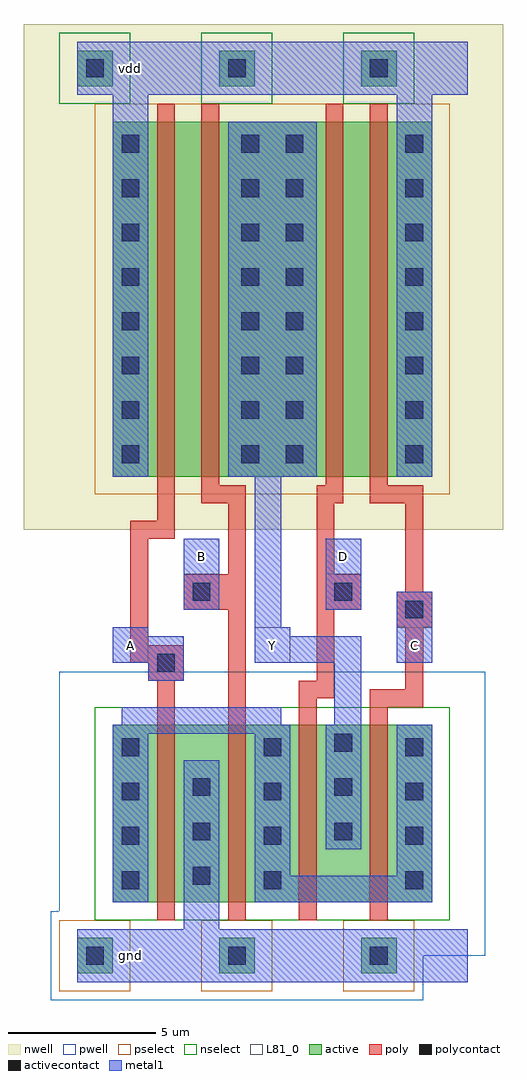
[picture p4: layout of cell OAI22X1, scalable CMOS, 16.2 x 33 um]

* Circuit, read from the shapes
.subckt OAI22X1 A B C D Y gnd vdd
M1 gnd A n1 gnd nfet w=6u l=0.6u
M2 n1 B gnd gnd nfet w=6u l=0.6u
M3 Y D n1 gnd nfet w=6u l=0.6u
M4 n1 C Y gnd nfet w=6u l=0.6u
M5 n2 A vdd vdd pfet w=12u l=0.6u
M6 Y B n2 vdd pfet w=12u l=0.6u
M7 n3 D Y vdd pfet w=12u l=0.6u
M8 vdd C n3 vdd pfet w=12u l=0.6u
.ends

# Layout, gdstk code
import gdstk
lib = gdstk.Library(unit=1e-6, precision=1e-09)
def R(c, l, rs):  # rectangles x0, y0, x1, y1
    for r in rs: c.add(gdstk.rectangle(r[:2], r[2:], *l))
def A(c, l, x, y, w, h, nx, ny, dx, dy):  # array of equal rectangles
    R(c, l, [(x+i*dx, y+j*dy, x+i*dx+w, y+j*dy+h) for i in range(nx) for j in range(ny)])
pwell = (41, 0)
nwell = (42, 0)
active = (43, 0)
pselect = (44, 0)
nselect = (45, 0)
poly = (46, 0)
polycontact = (47, 0)
activecontact = (48, 0)
metal1 = (49, 0)
L81_0 = (81, 0)

oai22x1 = lib.new_cell('OAI22X1')
R(oai22x1, pwell, [(-1.5,-1.5,11.1,0), (-1.5,0,13.2,1.5), (-1.2,1.5,13.2,9.6)])
R(oai22x1, nwell, [(-2.4,14.4,13.8,31.5)])
A(oai22x1, active, -0.6, -0.6, 1.2, 1.2, 3, 2, 4.8, 30)
R(oai22x1, active, [(0.6,1.8,11.4,7.8), (0.6,16.2,11.4,28.2)])
A(oai22x1, pselect, -1.2, -1.2, 2.4, 2.4, 3, 1, 4.8, 0)
R(oai22x1, pselect, [(0,15.6,12,28.8)])
A(oai22x1, nselect, -1.2, 28.8, 2.4, 2.4, 3, 1, 4.8, 0)
R(oai22x1, nselect, [(0,1.2,12,8.4)])
R(oai22x1, poly, [(2.1,1.2,2.7,9.3), (4.5,1.2,5.1,11.7), (6.9,1.2,7.5,8.7), (9.3,1.2,9.9,8.4), (9.3,8.4,11.1,9), (6.9,8.7,8.1,9.3), (10.5,9,11.1,11.1), (1.8,9.3,3,9.9), (7.5,9.3,8.1,11.7), (1.2,9.9,3,10.5), (1.2,10.5,1.8,14.1), (10.2,11.1,11.4,12.3), (3,11.7,5.1,12.9), (7.5,11.7,9,12.9), (10.5,12.3,11.1,15.3), (4.5,12.9,5.1,15.3), (7.5,12.9,8.1,15.3), (1.2,14.1,2.7,14.7), (2.1,14.7,2.7,28.8), (3.6,15.3,5.1,15.9), (7.5,15.3,8.4,15.9), (9.3,15.3,11.1,15.9), (3.6,15.9,4.2,28.8), (7.8,15.9,8.4,28.8), (9.3,15.9,9.9,28.8)])
R(oai22x1, polycontact, [(2.1,9.6,2.7,10.2), (10.5,11.4,11.1,12), (3.3,12,3.9,12.6), (8.1,12,8.7,12.6)])
A(oai22x1, activecontact, -0.3, -0.3, 0.6, 0.6, 3, 2, 4.8, 30)
A(oai22x1, activecontact, 0.9, 2.25, 0.6, 0.6, 3, 4, 4.8, 1.5)
A(oai22x1, activecontact, 3.3, 2.4, 0.6, 0.6, 1, 3, 0, 1.5)
A(oai22x1, activecontact, 8.1, 3.9, 0.6, 0.6, 1, 3, 0, 1.5)
A(oai22x1, activecontact, 0.9, 16.65, 0.6, 0.6, 1, 8, 0, 1.5)
A(oai22x1, activecontact, 4.95, 16.65, 0.6, 0.6, 1, 8, 0, 1.5)
A(oai22x1, activecontact, 6.45, 16.65, 0.6, 0.6, 1, 8, 0, 1.5)
A(oai22x1, activecontact, 10.5, 16.65, 0.6, 0.6, 1, 8, 0, 1.5)
R(oai22x1, metal1, [(-0.6,-0.9,12.6,0.9), (3,0.9,4.2,6.6), (0.6,1.8,1.8,7.5), (5.4,1.8,11.4,2.7), (5.4,2.7,6.6,7.5), (10.2,2.7,11.4,7.8), (7.8,3.6,9,7.8), (0.6,7.5,6.6,7.8), (0.9,7.8,6.3,8.4), (8.1,7.8,9,9.9), (1.8,9.3,3,9.9), (0.6,9.9,3,10.8), (5.4,9.9,9,10.8), (10.2,9.9,11.4,12.3), (0.6,10.8,1.8,11.1), (5.4,10.8,6.6,11.1), (5.4,11.1,6.3,16.2), (3,11.7,4.2,14.1), (7.8,11.7,9,14.1), (0.6,16.2,1.8,29.1), (4.5,16.2,7.5,28.2), (10.2,16.2,11.4,29.1), (-0.6,29.1,12.6,30.9)])
A(oai22x1, L81_0, 0.6, 9.9, 1.2, 1.2, 3, 1, 4.8, 0)
R(oai22x1, L81_0, [(3,12.9,4.2,14.1), (7.8,12.9,9,14.1)])
oai22x1.add(gdstk.Label('gnd', (1.2,0), layer=49, texttype=0))
oai22x1.add(gdstk.Label('vdd', (1.2,30), layer=49, texttype=0))
oai22x1.add(gdstk.Label('D', (8.4,13.5), layer=49, texttype=0))
oai22x1.add(gdstk.Label('C', (10.8,10.5), layer=49, texttype=0))
oai22x1.add(gdstk.Label('A', (1.2,10.5), layer=49, texttype=0))
oai22x1.add(gdstk.Label('B', (3.6,13.5), layer=49, texttype=0))
oai22x1.add(gdstk.Label('Y', (6,10.5), layer=49, texttype=0))

lib.write_gds('OAI22X1.gds')
